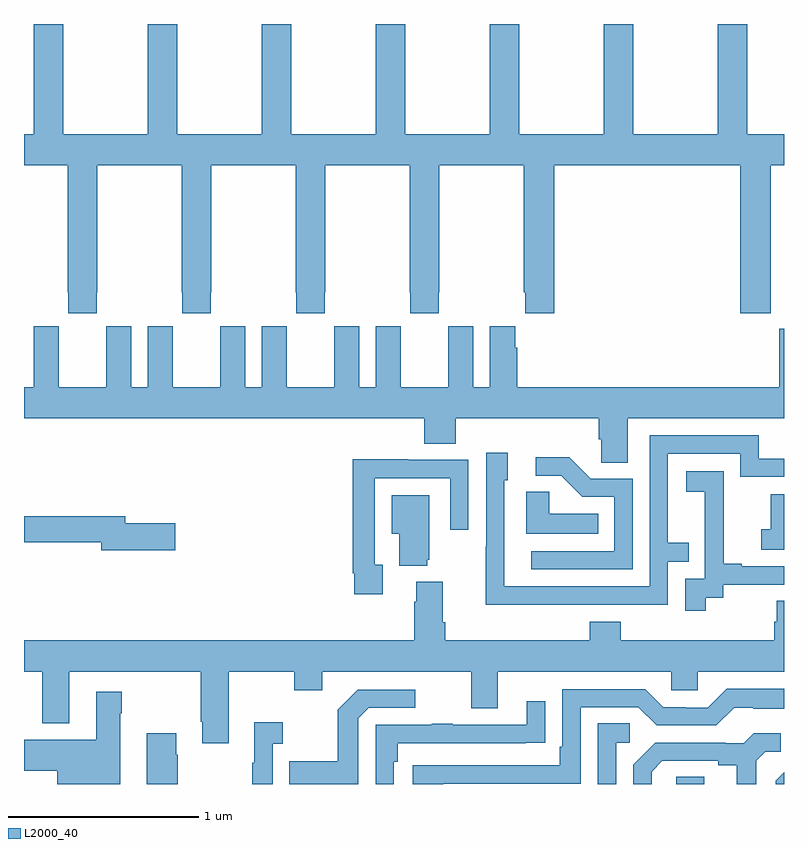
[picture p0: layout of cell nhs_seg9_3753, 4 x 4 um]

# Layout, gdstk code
import gdstk
lib = gdstk.Library(unit=1e-6, precision=1e-09)
def R(c, l, rs):  # rectangles x0, y0, x1, y1
    for r in rs: c.add(gdstk.rectangle(r[:2], r[2:], *l))
def P(c, l, *ps):  # polygons
    for p in ps: c.add(gdstk.Polygon(p, *l))
L2000_40 = (2000, 40)

nhs_seg9_3753 = lib.new_cell('nhs_seg9_3753')
R(nhs_seg9_3753, L2000_40, [(328.434,1190.5,328.579,1190.537)])
P(nhs_seg9_3753, L2000_40, [(327.631,1193.089),(327.637,1193.089),(327.637,1192.977),(327.791,1192.977),(327.791,1193.756),(328.769,1193.756),(328.769,1192.977),(328.929,1192.977),(328.929,1193.756),(329,1193.756),(329,1193.92),(328.806,1193.92),(328.806,1194.5),(328.651,1194.5),(328.651,1193.92),(328.206,1193.92),(328.206,1194.5),(328.051,1194.5),(328.051,1193.92),(327.606,1193.92),(327.606,1194.5),(327.451,1194.5),(327.451,1193.92),(327.006,1193.92),(327.006,1194.5),(326.851,1194.5),(326.851,1193.92),(326.406,1193.92),(326.406,1194.5),(326.251,1194.5),(326.251,1193.92),(325.806,1193.92),(325.806,1194.5),(325.651,1194.5),(325.651,1193.92),(325.206,1193.92),(325.206,1194.5),(325.051,1194.5),(325.051,1193.92),(325,1193.92),(325,1193.756),(325.231,1193.756),(325.231,1193.089),(325.233,1193.089),(325.233,1192.977),(325.383,1192.977),(325.383,1193.089),(325.386,1193.089),(325.386,1193.756),(325.831,1193.756),(325.831,1193.089),(325.833,1193.089),(325.833,1192.977),(325.983,1192.977),(325.983,1193.089),(325.986,1193.089),(325.986,1193.756),(326.431,1193.756),(326.431,1193.089),(326.433,1193.089),(326.433,1192.977),(326.583,1192.977),(326.583,1193.089),(326.586,1193.089),(326.586,1193.756),(327.031,1193.756),(327.031,1193.089),(327.033,1193.089),(327.033,1192.977),(327.183,1192.977),(327.183,1193.089),(327.186,1193.089),(327.186,1193.756),(327.631,1193.756)],
  [(328.177,1192.424),(329,1192.424),(329,1192.897),(328.976,1192.897),(328.976,1192.588),(327.596,1192.588),(327.596,1192.796),(327.586,1192.796),(327.586,1192.909),(327.452,1192.909),(327.452,1192.588),(327.364,1192.588),(327.364,1192.909),(327.234,1192.909),(327.234,1192.796),(327.233,1192.796),(327.233,1192.588),(326.983,1192.588),(326.983,1192.796),(326.982,1192.796),(326.982,1192.909),(326.852,1192.909),(326.852,1192.588),(326.764,1192.588),(326.764,1192.909),(326.634,1192.909),(326.634,1192.796),(326.633,1192.796),(326.633,1192.588),(326.383,1192.588),(326.383,1192.796),(326.382,1192.796),(326.382,1192.909),(326.252,1192.909),(326.252,1192.588),(326.164,1192.588),(326.164,1192.909),(326.034,1192.909),(326.034,1192.796),(326.033,1192.796),(326.033,1192.588),(325.783,1192.588),(325.783,1192.796),(325.782,1192.796),(325.782,1192.909),(325.652,1192.909),(325.652,1192.588),(325.564,1192.588),(325.564,1192.909),(325.434,1192.909),(325.434,1192.796),(325.433,1192.796),(325.433,1192.588),(325.183,1192.588),(325.183,1192.796),(325.182,1192.796),(325.182,1192.909),(325.052,1192.909),(325.052,1192.588),(325,1192.588),(325,1192.424),(327.107,1192.424),(327.107,1192.291),(327.272,1192.291),(327.272,1192.424),(328.025,1192.424),(328.025,1192.315),(328.038,1192.315),(328.038,1192.192),(328.177,1192.192)],
  [(327.893,1191.444),(328.389,1191.444),(328.389,1191.669),(328.499,1191.669),(328.499,1191.77),(328.389,1191.77),(328.389,1192.239),(328.77,1192.239),(328.77,1192.116),(329,1192.116),(329,1192.212),(328.867,1192.212),(328.867,1192.335),(328.293,1192.335),(328.293,1191.54),(327.528,1191.54),(327.528,1192.098),(327.547,1192.098),(327.547,1192.243),(327.432,1192.243),(327.432,1191.749),(327.43,1191.749),(327.43,1191.443),(327.893,1191.443)],
  [(328.203,1192.107),(327.984,1192.107),(327.871,1192.22),(327.693,1192.22),(327.693,1192.122),(327.827,1192.122),(327.938,1192.011),(328.107,1192.011),(328.107,1191.726),(327.669,1191.726),(327.669,1191.63),(328.203,1191.63)],
  [(326.887,1191.654),(326.847,1191.654),(326.847,1192.11),(327.243,1192.11),(327.243,1191.837),(327.339,1191.837),(327.339,1192.206),(327.023,1192.206),(327.023,1192.208),(326.731,1192.208),(326.731,1191.61),(326.739,1191.61),(326.739,1191.498),(326.887,1191.498)],
  [(328.588,1191.481),(328.68,1191.481),(328.68,1191.549),(329,1191.549),(329,1191.645),(328.777,1191.645),(328.777,1191.658),(328.682,1191.658),(328.682,1191.941),(328.683,1191.941),(328.683,1192.147),(328.485,1192.147),(328.485,1192.037),(328.583,1192.037),(328.583,1191.809),(328.584,1191.809),(328.584,1191.579),(328.479,1191.579),(328.479,1191.411),(328.588,1191.411)],
  [(328.022,1191.922),(327.765,1191.922),(327.765,1192.037),(327.644,1192.037),(327.644,1191.818),(328.022,1191.818)],
  [(329,1192.026),(328.93,1192.026),(328.93,1191.841),(328.881,1191.841),(328.881,1191.732),(329,1191.732)],
  [(327.122,1191.681),(327.133,1191.681),(327.133,1192.021),(326.936,1192.021),(326.936,1191.818),(326.975,1191.818),(326.975,1191.65),(327.122,1191.65)],
  [(325.795,1191.872),(325.534,1191.872),(325.534,1191.908),(325,1191.908),(325,1191.772),(325.406,1191.772),(325.406,1191.73),(325.795,1191.73)],
  [(326.077,1191.092),(326.422,1191.092),(326.422,1190.993),(326.569,1190.993),(326.569,1191.092),(327.353,1191.092),(327.353,1190.898),(327.493,1190.898),(327.493,1191.092),(328.407,1191.092),(328.407,1190.994),(328.545,1190.994),(328.545,1191.092),(329,1191.092),(329,1191.464),(328.961,1191.464),(328.961,1191.354),(328.949,1191.354),(328.949,1191.256),(328.142,1191.256),(328.142,1191.355),(327.977,1191.355),(327.977,1191.256),(327.218,1191.256),(327.218,1191.352),(327.205,1191.352),(327.205,1191.565),(327.065,1191.565),(327.065,1191.458),(327.053,1191.458),(327.053,1191.256),(325,1191.256),(325,1191.092),(325.097,1191.092),(325.097,1190.819),(325.237,1190.819),(325.237,1191.092),(325.93,1191.092),(325.93,1190.827),(325.937,1190.827),(325.937,1190.715),(326.077,1190.715)],
  [(327.206,1190.502),(327.93,1190.502),(327.93,1190.904),(328.233,1190.904),(328.329,1190.808),(328.644,1190.808),(328.737,1190.901),(328.837,1190.901),(328.837,1190.897),(329,1190.897),(329,1191.001),(328.699,1191.001),(328.599,1190.901),(328.484,1190.901),(328.484,1190.904),(328.365,1190.904),(328.269,1191),(327.834,1191),(327.834,1190.695),(327.821,1190.695),(327.821,1190.598),(327.045,1190.598),(327.045,1190.5),(327.206,1190.5)],
  [(326.76,1190.847),(326.814,1190.901),(327.058,1190.901),(327.058,1190.997),(326.757,1190.997),(326.652,1190.891),(326.652,1190.619),(326.395,1190.619),(326.395,1190.5),(326.76,1190.5)],
  [(325.507,1190.873),(325.515,1190.873),(325.515,1190.986),(325.379,1190.986),(325.379,1190.734),(325,1190.734),(325,1190.57),(325.175,1190.57),(325.175,1190.5),(325.507,1190.5)],
  [(326.946,1190.618),(326.966,1190.618),(326.966,1190.715),(327.641,1190.715),(327.641,1190.716),(327.743,1190.716),(327.743,1190.935),(327.647,1190.935),(327.647,1190.811),(327.257,1190.811),(327.257,1190.816),(327.145,1190.816),(327.145,1190.811),(326.85,1190.811),(326.85,1190.5),(326.946,1190.5)],
  [(326.31,1190.711),(326.362,1190.711),(326.362,1190.824),(326.213,1190.824),(326.213,1190.611),(326.202,1190.611),(326.202,1190.5),(326.31,1190.5)],
  [(328.116,1190.718),(328.189,1190.718),(328.189,1190.819),(328.02,1190.819),(328.02,1190.5),(328.116,1190.5)],
  [(328.303,1190.565),(328.36,1190.622),(328.655,1190.622),(328.655,1190.6),(328.751,1190.6),(328.751,1190.5),(328.855,1190.5),(328.855,1190.623),(328.902,1190.67),(328.984,1190.67),(328.984,1190.767),(328.84,1190.767),(328.788,1190.715),(328.694,1190.715),(328.694,1190.718),(328.322,1190.718),(328.206,1190.602),(328.206,1190.5),(328.303,1190.5)],
  [(325.809,1190.654),(325.801,1190.654),(325.801,1190.767),(325.646,1190.767),(325.646,1190.5),(325.809,1190.5)],
  [(329,1190.562),(328.956,1190.518),(328.956,1190.5),(329,1190.5)])

lib.write_gds('nhs_seg9_3753.gds')
